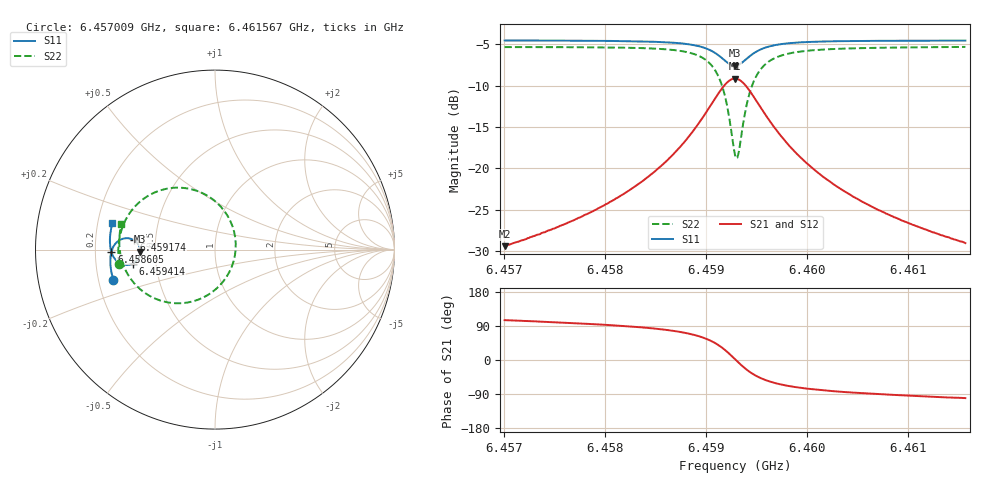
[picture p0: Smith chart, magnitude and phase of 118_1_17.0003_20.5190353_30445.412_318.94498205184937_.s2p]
#  HZ  S  RI  R  50.00
! Rohde & Schwarz Vector Network Analyzer
! Rohde-Schwarz,ZNB20-2Port,1311601062101988,3.16
! Created: UTC 3/20/2024, 10:57:19 PM
! freq[Hz]  re:S11  im:S11  re:S21  im:S21  re:S12  im:S12  re:S22  im:S22
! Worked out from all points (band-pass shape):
!   401 points, 6.457009 GHz to 6.461567 GHz, reference 50 ohm
!   highest |S21| = -9.16 dB at 6.459288 GHz (marker M1); lowest = -29.4 dB at 6.457009 GHz (marker M2)
!   |S21| within 3 dB of the highest: 6.45906 GHz to 6.459516 GHz (455.9 kHz wide, 0.00706 % of centre)
!   lowest |S11| = -7.6 dB at 6.459288 GHz (marker M3), VSWR 2.42, Z = 20.6 - j0.551 ohm
!   |S11| at or under -10 dB: nowhere
!   |S22| runs from -18.8 to -5.3 dB; largest |S21 - S12| = 0.014
!   S11 on the Smith chart (normalised r, x): 6.457009 GHz: 0.26, -0.14; 6.458605 GHz: 0.27, -0.01; 6.459174 GHz: 0.38, +0.05; 6.459414 GHz: 0.37, -0.07; 6.461567 GHz: 0.26, +0.12
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6.4570093e9  -0.5668 -0.1711  -0.00885 0.0327  -0.00708 0.0327  -0.5337 -0.0815
6.4577728e9  -0.5805 -0.1041  -0.00556 0.0508  -0.00295 0.0502  -0.5384 0.00825
6.4581716e9  -0.5834 -0.0642  4.11e-05 0.0691  0.0032 0.0677  -0.5309 0.0714
6.4585363e9  -0.5794 -0.0205  0.0146 0.0995  0.0186 0.0968  -0.504 0.1532
6.4586046e9  -0.5772 -0.0109  0.02 0.1078  0.024 0.1048  -0.4939 0.1733
6.4587983e9  -0.5644 0.0196  0.0467 0.1391  0.0509 0.1342  -0.4436 0.2427
6.4589465e9  -0.5416 0.046  0.0924 0.1697  0.0957 0.1631  -0.3593 0.307
6.4590832e9  -0.4972 0.0635  0.1804 0.1864  0.1815 0.179  -0.1987 0.3449
6.4591744e9  -0.4521 0.0529  0.2711 0.1546  0.2715 0.1486  -0.0313 0.2934
6.4592428e9  -0.4228 0.0204  0.332 0.0818  0.3342 0.0765  0.0841 0.1621
6.4592883e9  -0.4159 -0.011  0.3481 0.0132  0.3518 0.00624  0.1155 0.0341
6.4592997e9  -0.4164 -0.0191  0.3477 -0.00462  0.3518 -0.0123  0.115 0.000257
6.4593225e9  -0.42 -0.035  0.3422 -0.0394  0.346 -0.0488  0.1034 -0.0659
6.4593681e9  -0.4357 -0.0614  0.3131 -0.0998  0.3153 -0.1119  0.0446 -0.1792
6.4594137e9  -0.458 -0.0779  0.2706 -0.1411  0.2698 -0.1542  -0.0416 -0.254
6.4595049e9  -0.5018 -0.0849  0.1851 -0.172  0.1789 -0.1837  -0.2114 -0.2991
6.459653e9  -0.5461 -0.0644  0.0968 -0.1578  0.0882 -0.164  -0.3794 -0.2487
6.4598125e9  -0.5678 -0.0367  0.0516 -0.1297  0.0439 -0.1325  -0.4597 -0.176
6.4600518e9  -0.5807 -0.00132  0.0224 -0.0979  0.0166 -0.0985  -0.5078 -0.0932
6.4604165e9  -0.5855 0.0421  0.00563 -0.0697  0.0016 -0.0691  -0.5296 -0.00979
6.4608153e9  -0.5837 0.0822  -0.00148 -0.0521  -0.00427 -0.0514  -0.5332 0.0538
6.4615674e9  -0.5719 0.149  -0.00647 -0.0347  -0.00821 -0.0339  -0.5218 0.1431
